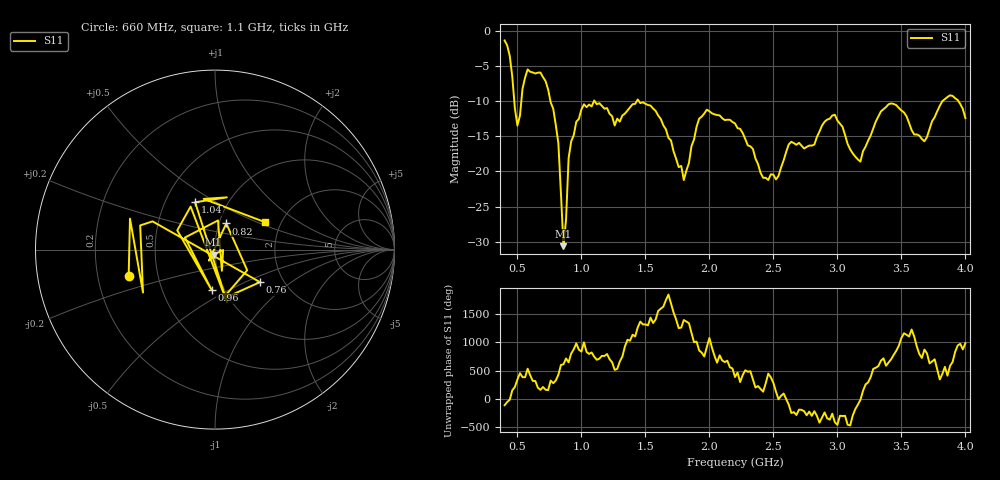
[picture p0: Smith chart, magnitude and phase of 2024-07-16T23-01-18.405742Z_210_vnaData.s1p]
!Created with skrf (http://scikit-rf.org).
# Hz S RI R 50.0
!freq ReS11 ImS11
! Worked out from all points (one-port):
!   181 points, 400 MHz to 4 GHz, reference 50 ohm
!   lowest |S11| = -30.6 dB at 860 MHz (marker M1), VSWR 1.06, Z = 49.1 - j2.79 ohm
!   |S11| at or under -10 dB: 757.9 MHz to 1.098 GHz (340.3 MHz wide, 36.7 % of centre); 1.103 GHz to 1.433 GHz (330 MHz wide, 26 % of centre); 1.449 GHz to 3.821 GHz (2.372 GHz wide, 90 % of centre) (the widest 3 of 5)
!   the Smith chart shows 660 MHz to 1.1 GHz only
!   S11 on the Smith chart (normalised r, x): 660 MHz: 0.34, -0.13; 760 MHz: 1.52, -0.61; 820 MHz: 1.08, +0.32; 960 MHz: 0.87, -0.41; 1.04 GHz: 0.70, +0.40; 1.1 GHz: 1.66, +0.56
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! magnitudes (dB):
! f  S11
! 400 MHz  -1.4
! 440 MHz  -3.6
! 500 MHz  -13.5
! 580 MHz  -5.5
! 660 MHz  -6.0
! 760 MHz  -10.2
! 820 MHz  -16.0
! 860 MHz  -30.6
! 900 MHz  -18.1
! 960 MHz  -12.9
! 1.04 GHz  -10.9
! 1.1 GHz  -9.9
! 1.3 GHz  -12.9
! 1.54 GHz  -10.6
! 1.76 GHz  -19.4
! 1.8 GHz  -21.2
! 1.98 GHz  -11.2
! 2.2 GHz  -13.2
! 2.46 GHz  -21.2
! 2.66 GHz  -16.0
! 2.98 GHz  -11.9
! 3.1 GHz  -16.9
! 3.18 GHz  -18.6
! 3.4 GHz  -10.5
! 3.56 GHz  -13.1
! 3.68 GHz  -15.7
! 3.88 GHz  -9.2
! 4 GHz  -12.4
